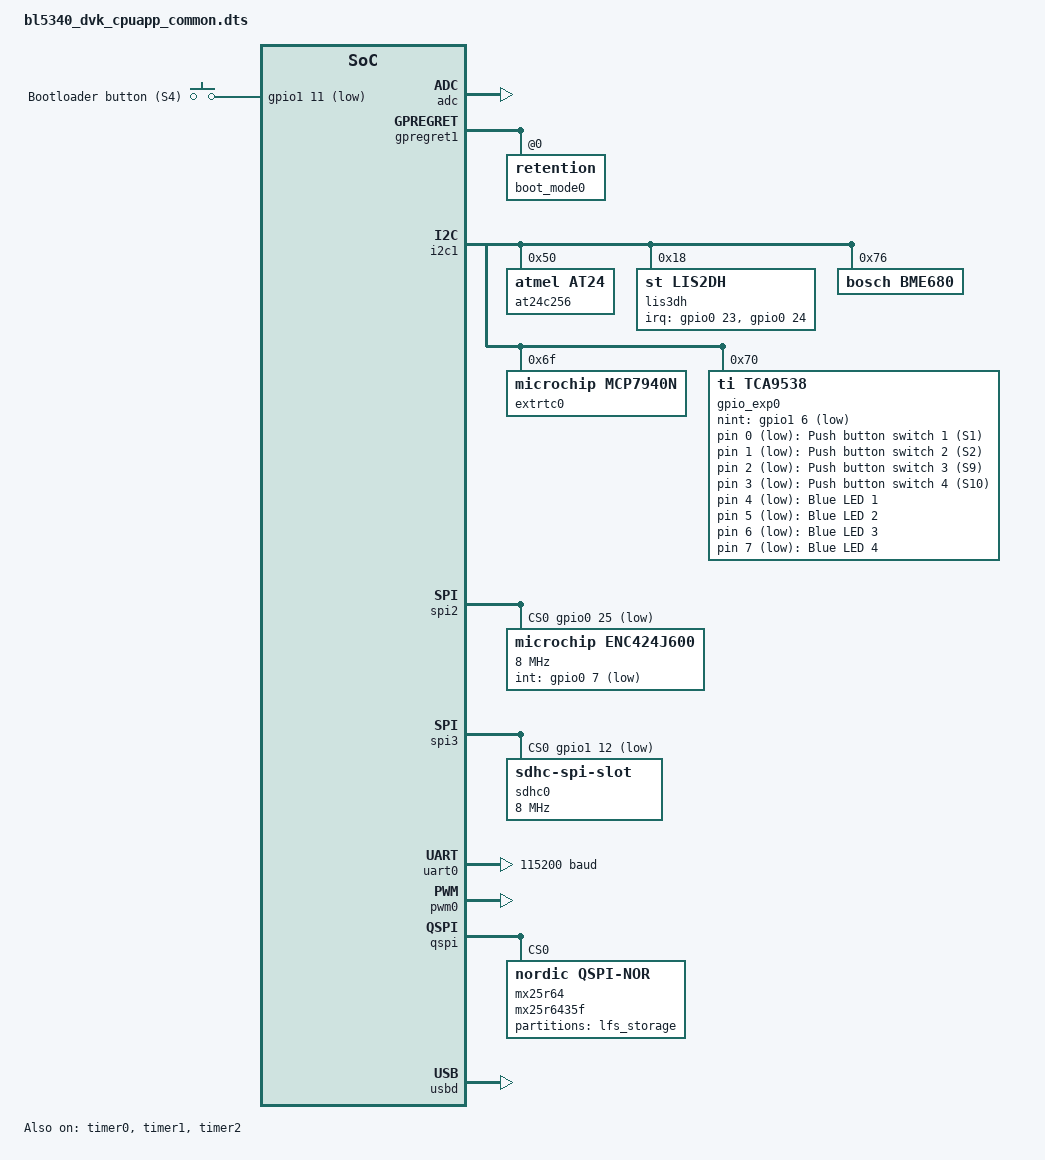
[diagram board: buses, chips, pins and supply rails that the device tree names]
/*
 * Copyright (c) 2019-2022 Nordic Semiconductor ASA
 * Copyright (c) 2021 Laird Connectivity
 * Copyright (c) 2022-2023 thedjnK
 *
 * SPDX-License-Identifier: Apache-2.0
 */
#include "bl5340_dvk_cpuapp_common-pinctrl.dtsi"

/ {
	chosen {
		zephyr,console = &uart0;
		zephyr,shell-uart = &uart0;
		zephyr,uart-mcumgr = &uart0;
		zephyr,bt-mon-uart = &uart0;
		zephyr,bt-c2h-uart = &uart0;
		zephyr,bt-hci-rpmsg-ipc = &ipc0;
		nordic,802154-spinel-ipc = &ipc0;
		zephyr,ieee802154 = &ieee802154;
		zephyr,code-partition = &slot1_partition;
		zephyr,boot-mode = &boot_mode0;
	};

	/* Main LEDs and buttons are on an I2C TCA9538 GPIO port expander */
	/* Note TCA9538 does not have configurable internal pull ups/ downs */
	buttons {
		compatible = "gpio-keys";
		boot_button0: boot_button {
			gpios = <&gpio1 11 GPIO_ACTIVE_LOW>;
			label = "Bootloader button (S4)";
		};

		button1: button_1 {
			gpios = <&gpio_exp0 0 GPIO_ACTIVE_LOW>;
			label = "Push button switch 1 (S1)";
		};

		button2: button_2 {
			gpios = <&gpio_exp0 1 GPIO_ACTIVE_LOW>;
			label = "Push button switch 2 (S2)";
		};

		button3: button_3 {
			gpios = <&gpio_exp0 2 GPIO_ACTIVE_LOW>;
			label = "Push button switch 3 (S9)";
		};

		button4: button_4 {
			gpios = <&gpio_exp0 3 GPIO_ACTIVE_LOW>;
			label = "Push button switch 4 (S10)";
		};
	};

	leds {
		compatible = "gpio-leds";
		led1: led_1 {
			gpios = <&gpio_exp0 4 GPIO_ACTIVE_LOW>;
			label = "Blue LED 1";
		};
		led2: led_2 {
			gpios = <&gpio_exp0 5 GPIO_ACTIVE_LOW>;
			label = "Blue LED 2";
		};
		led3: led_3 {
			gpios = <&gpio_exp0 6 GPIO_ACTIVE_LOW>;
			label = "Blue LED 3";
		};
		led4: led_4 {
			gpios = <&gpio_exp0 7 GPIO_ACTIVE_LOW>;
			label = "Blue LED 4";
		};
	};

	gpio_fwd: nrf-gpio-forwarder {
		compatible = "nordic,nrf-gpio-forwarder";
		status = "okay";
		uart {
			gpios = <&gpio1 8 0>, <&gpio1 10 0>, <&gpio1 7 0>, <&gpio1 9 0>;
		};
	};

	/* These aliases are provided for compatibility with samples */
	aliases {
		led0 = &led1;
		led1 = &led2;
		led2 = &led3;
		led3 = &led4;
		sw0 = &button1;
		sw1 = &button2;
		sw2 = &button3;
		sw3 = &button4;
		bootloader-led0 = &led1;
		mcuboot-button0 = &button1;
		mcuboot-led0 = &led1;
		sdhc0 = &sdhc0;
		watchdog0 = &wdt0;
		accel0 = &lis3dh;
		spi-flash0 = &mx25r64;
	};
};

&adc {
	status = "okay";
};

&gpiote {
	status = "okay";
};

&gpio0 {
	status = "okay";
};

&gpio1 {
	status = "okay";
};

&gpregret1 {
	status = "okay";

	boot_mode0: boot_mode@0 {
		compatible = "zephyr,retention";
		status = "okay";
		reg = <0x0 0x1>;
	};
};

&i2c1 {
	compatible = "nordic,nrf-twim";
	status = "okay";

	pinctrl-0 = <&i2c1_default>;
	pinctrl-1 = <&i2c1_sleep>;
	pinctrl-names = "default", "sleep";
	at24c256@50 {
		compatible = "atmel,at24";
		reg = <0x50>;
		size = <32768>;
		pagesize = <64>;
		address-width = <16>;
		timeout = <10>;
	};

	lis3dh: lis3dh@18 {
		compatible = "st,lis2dh";
		reg = <0x18>;
		irq-gpios = <&gpio0 23 GPIO_ACTIVE_HIGH>, <&gpio0 24 GPIO_ACTIVE_HIGH>;
	};

	bme680@76 {
		compatible = "bosch,bme680";
		reg = <0x76>;
	};

	extrtc0: mcp7940n@6f {
		compatible = "microchip,mcp7940n";
		reg = <0x6f>;
	};

	gpio_exp0: tca9538@70 {
		compatible = "ti,tca9538";
		reg = <0x70>;
		gpio-controller;
		#gpio-cells = <2>;
		ngpios = <8>;
		nint-gpios = <&gpio1 6 GPIO_ACTIVE_LOW>;
	};
};

&spi2 {
	compatible = "nordic,nrf-spim";
	status = "okay";
	cs-gpios = <&gpio0 25 GPIO_ACTIVE_LOW>;

	pinctrl-0 = <&spi2_default>;
	pinctrl-1 = <&spi2_sleep>;
	pinctrl-names = "default", "sleep";
	enc424j600@0 {
		compatible = "microchip,enc424j600";
		reg = <0>;
		spi-max-frequency = <8000000>;
		int-gpios = <&gpio0 7 GPIO_ACTIVE_LOW>;
	};
};

&spi3 {
	compatible = "nordic,nrf-spim";
	status = "okay";
	cs-gpios = <&gpio1 12 GPIO_ACTIVE_LOW>;

	pinctrl-0 = <&spi3_default>;
	pinctrl-1 = <&spi3_sleep>;
	pinctrl-names = "default", "sleep";
	sdhc0: sdhc@0 {
		reg = <0>;
		compatible = "zephyr,sdhc-spi-slot";
		status = "okay";
		spi-max-frequency = <8000000>;
		mmc {
			compatible = "zephyr,sdmmc-disk";
			status = "okay";
		};
	};
};

&spi4 {
	compatible = "nordic,nrf-spim";
	status = "disabled";
	cs-gpios = <&gpio0 11 GPIO_ACTIVE_LOW>;

	pinctrl-0 = <&spi4_default>;
	pinctrl-1 = <&spi4_sleep>;
	pinctrl-names = "default", "sleep";
};

&uart0 {
	status = "okay";
	current-speed = <115200>;
	pinctrl-0 = <&uart0_default>;
	pinctrl-1 = <&uart0_sleep>;
	pinctrl-names = "default", "sleep";
};

&pwm0 {
	status = "okay";
	pinctrl-0 = <&pwm0_default>;
	pinctrl-1 = <&pwm0_sleep>;
	pinctrl-names = "default", "sleep";
};

&timer0 {
	status = "okay";
};

&timer1 {
	status = "okay";
};

&timer2 {
	status = "okay";
};

&qspi {
	status = "okay";
	pinctrl-0 = <&qspi_default>;
	pinctrl-1 = <&qspi_sleep>;
	pinctrl-names = "default", "sleep";
	mx25r64: mx25r6435f@0 {
		compatible = "nordic,qspi-nor";
		reg = <0>;
		/* MX25R64 supports only pp and pp4io */
		writeoc = "pp4io";
		/* MX25R64 supports all readoc options */
		readoc = "read4io";
		sck-frequency = <8000000>;
		jedec-id = [c2 28 17];
		sfdp-bfp = [
			e5 20 f1 ff  ff ff ff 03  44 eb 08 6b  08 3b 04 bb
			ee ff ff ff  ff ff 00 ff  ff ff 00 ff  0c 20 0f 52
			10 d8 00 ff  23 72 f5 00  82 ed 04 cc  44 83 68 44
			30 b0 30 b0  f7 c4 d5 5c  00 be 29 ff  f0 d0 ff ff
		];
		size = <67108864>;
		has-dpd;
		t-enter-dpd = <10000>;
		t-exit-dpd = <35000>;
	};
};

zephyr_udc0: &usbd {
	compatible = "nordic,nrf-usbd";
	status = "okay";
};

&flash0 {
	partitions {
		compatible = "fixed-partitions";
		#address-cells = <1>;
		#size-cells = <1>;

		/* 32KB: Bootloader */
		boot_partition: partition@0 {
			label = "mcuboot";
			reg = <0x00000000 0x00008000>;
		};

		/* 840KB: Application */
		slot1_partition: partition@8000 {
			label = "image-1";
			reg = <0x00008000 0xd2000>;
		};

		/* 104KB: MCUmgr UDP image receiver */
		slot0_partition: partition@da000 {
			label = "image-0";
			reg = <0x000da000 0x1a000>;
		};

		/* 48KB: Storage partition (NVS) */
		storage_partition: partition@f4000 {
			label = "storage";
			reg = <0x000f4000 0x0000c000>;
		};
	};
};

&mx25r64 {
	partitions {
		compatible = "fixed-partitions";
		#address-cells = <1>;
		#size-cells = <1>;

		/* 8MB: LFS file storage */
		lfs_partition: partition@0 {
			label = "lfs_storage";
			reg = <0x00000000 0x00800000>;
		};
	};
};

/ {
	reserved-memory {
		#address-cells = <1>;
		#size-cells = <1>;
		ranges;

		sram0_image: image@20000000 {
			/* Zephyr image(s) memory */
			reg = <0x20000000 DT_SIZE_K(448)>;
		};

		sram0_s: image_s@20000000 {
			/* Secure image memory */
			reg = <0x20000000 0x70000>;
		};
	};
};

/* Include shared RAM configuration file */
#include "bl5340_dvk_shared_sram_planning_conf.dts"
